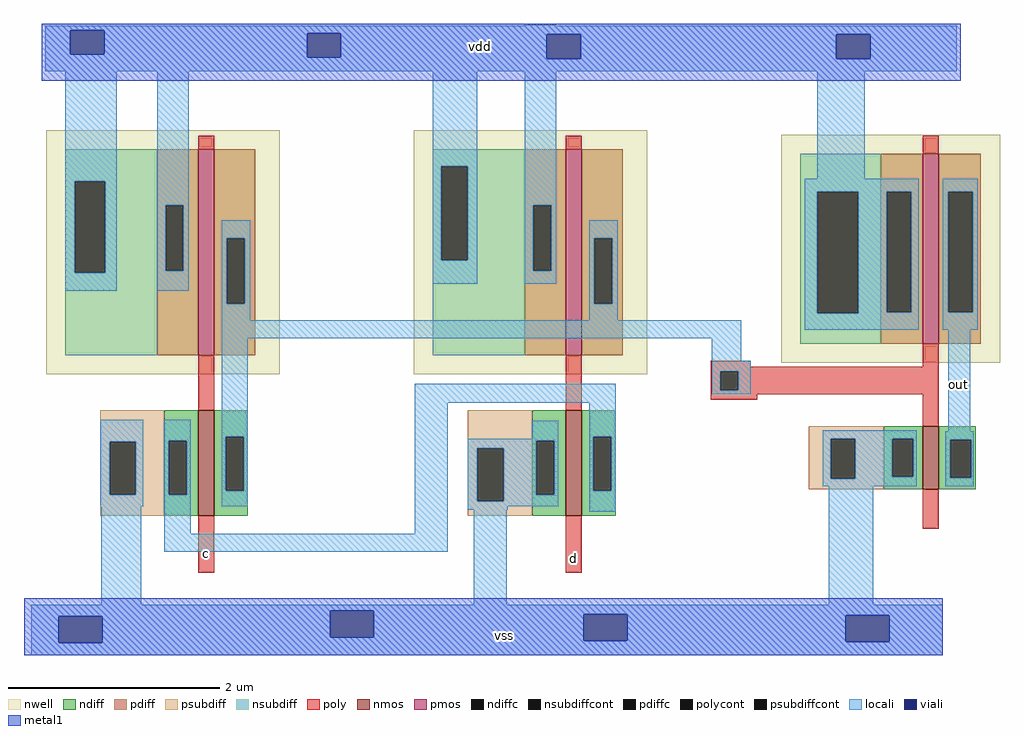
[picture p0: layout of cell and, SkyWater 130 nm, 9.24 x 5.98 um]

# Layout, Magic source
magic
tech sky130A
<< nwell >>
rect -168 121 53 352
rect 180 121 401 352
rect 528 132 735 348
<< nmos >>
rect -24 -13 -9 87
rect 324 -13 339 87
rect 662 12 677 72
<< pmos >>
rect -24 139 -9 334
rect 324 139 339 334
rect 662 150 677 330
<< ndiff >>
rect -56 58 -24 87
rect -56 7 -52 58
rect -35 7 -24 58
rect -56 -13 -24 7
rect -9 62 23 87
rect -9 11 2 62
rect 19 11 23 62
rect -9 -13 23 11
rect 292 58 324 87
rect 292 7 296 58
rect 313 7 324 58
rect 292 -13 324 7
rect 339 62 371 87
rect 339 11 350 62
rect 367 11 371 62
rect 625 60 662 72
rect 625 24 633 60
rect 653 24 662 60
rect 625 12 662 24
rect 677 59 712 72
rect 677 23 688 59
rect 708 23 712 59
rect 677 12 712 23
rect 339 -13 371 11
<< pdiff >>
rect -63 281 -24 334
rect -63 219 -55 281
rect -38 219 -24 281
rect -63 139 -24 219
rect -9 250 30 334
rect -9 188 3 250
rect 20 188 30 250
rect -9 139 30 188
rect 285 281 324 334
rect 285 219 293 281
rect 310 219 324 281
rect 285 139 324 219
rect 339 250 378 334
rect 339 188 351 250
rect 368 188 378 250
rect 339 139 378 188
rect 622 294 662 330
rect 622 180 628 294
rect 651 180 662 294
rect 622 150 662 180
rect 677 294 717 330
rect 677 180 686 294
rect 709 180 717 294
rect 677 150 717 180
<< ndiffc >>
rect -52 7 -35 58
rect 2 11 19 62
rect 296 7 313 58
rect 350 11 367 62
rect 633 24 653 60
rect 688 23 708 59
<< pdiffc >>
rect -55 219 -38 281
rect 3 188 20 250
rect 293 219 310 281
rect 351 188 368 250
rect 628 180 651 294
rect 686 180 709 294
<< psubdiff >>
rect -117 57 -56 87
rect -117 7 -108 57
rect -83 7 -56 57
rect -117 -13 -56 7
rect 231 51 292 87
rect 231 1 240 51
rect 265 1 292 51
rect 231 -13 292 1
rect 554 60 625 72
rect 554 22 575 60
rect 598 22 625 60
rect 554 12 625 22
<< nsubdiff >>
rect -150 304 -63 334
rect -150 217 -141 304
rect -112 217 -63 304
rect -150 139 -63 217
rect 198 318 285 334
rect 198 229 206 318
rect 231 229 285 318
rect 198 139 285 229
rect 546 294 622 330
rect 546 179 562 294
rect 601 179 622 294
rect 546 150 622 179
<< psubdiffcont >>
rect -108 7 -83 57
rect 240 1 265 51
rect 575 22 598 60
<< nsubdiffcont >>
rect -141 217 -112 304
rect 206 229 231 318
rect 562 179 601 294
<< poly >>
rect -24 334 -9 347
rect 324 334 339 347
rect 662 330 677 347
rect -24 87 -9 139
rect 324 87 339 139
rect 461 128 499 134
rect 662 128 677 150
rect 461 124 677 128
rect 461 106 470 124
rect 487 106 677 124
rect 461 102 677 106
rect 461 97 505 102
rect 662 72 677 102
rect -24 -67 -9 -13
rect 324 -67 339 -13
rect 662 -25 677 12
<< polycont >>
rect 470 106 487 124
<< locali >>
rect 285 451 315 452
rect -169 447 694 451
rect -169 424 -145 447
rect -113 444 694 447
rect -113 424 79 444
rect -169 421 79 424
rect 111 443 694 444
rect 111 421 306 443
rect -169 420 306 421
rect 338 420 580 443
rect 612 420 694 443
rect -169 408 694 420
rect -150 304 -101 408
rect -150 217 -141 304
rect -112 217 -101 304
rect -150 200 -101 217
rect -63 281 -33 408
rect -63 219 -55 281
rect -38 219 -33 281
rect 198 318 240 408
rect -63 200 -33 219
rect -2 250 25 267
rect -2 188 3 250
rect 20 188 25 250
rect 198 229 206 318
rect 231 229 240 318
rect 198 207 240 229
rect 285 281 315 408
rect 562 306 607 408
rect 285 219 293 281
rect 310 219 315 281
rect 550 294 658 306
rect 285 207 315 219
rect 346 250 373 267
rect -2 172 25 188
rect 346 188 351 250
rect 368 188 373 250
rect 346 172 373 188
rect 550 179 562 294
rect 601 180 628 294
rect 651 180 658 294
rect 601 179 658 180
rect -2 155 490 172
rect 550 163 658 179
rect 681 294 714 306
rect 681 180 686 294
rect 709 180 714 294
rect 681 163 714 180
rect -117 57 -76 78
rect -117 7 -108 57
rect -83 7 -76 57
rect -117 -4 -76 7
rect -56 58 -31 78
rect -56 7 -52 58
rect -35 7 -31 58
rect -116 -97 -78 -4
rect -56 -30 -31 7
rect -2 62 23 155
rect 462 134 490 155
rect 462 124 499 134
rect -2 11 2 62
rect 19 11 23 62
rect -2 -4 23 11
rect 181 94 371 112
rect 462 106 470 124
rect 487 106 499 124
rect 462 102 499 106
rect 181 -30 212 94
rect 292 60 317 77
rect 231 58 317 60
rect 231 51 296 58
rect 231 1 240 51
rect 265 7 296 51
rect 313 7 317 58
rect 265 1 317 7
rect 231 -4 317 1
rect 346 62 371 94
rect 346 11 350 62
rect 367 11 371 62
rect 567 60 656 68
rect 686 67 707 163
rect 567 22 575 60
rect 598 24 633 60
rect 653 24 656 60
rect 598 22 656 24
rect 567 15 656 22
rect 683 59 710 67
rect 683 23 688 59
rect 708 23 710 59
rect 683 15 710 23
rect 231 -7 269 -4
rect -56 -47 212 -30
rect 237 -97 268 -7
rect 346 -9 371 11
rect 573 -97 615 15
rect -182 -103 681 -97
rect -182 -108 101 -103
rect -182 -133 -156 -108
rect -115 -128 101 -108
rect 142 -106 681 -103
rect 142 -128 341 -106
rect -115 -131 341 -128
rect 382 -107 681 -106
rect 382 -131 589 -107
rect -115 -132 589 -131
rect 630 -132 681 -107
rect -115 -133 681 -132
rect -182 -145 681 -133
<< viali >>
rect -145 424 -113 447
rect 79 421 111 444
rect 306 420 338 443
rect 580 420 612 443
rect -156 -133 -115 -108
rect 101 -128 142 -103
rect 341 -131 382 -106
rect 589 -132 630 -107
<< metal1 >>
rect -172 447 698 453
rect -172 424 -145 447
rect -113 444 698 447
rect -113 424 79 444
rect -172 421 79 424
rect 111 443 698 444
rect 111 421 306 443
rect -172 420 306 421
rect 338 420 580 443
rect 612 420 698 443
rect -172 399 698 420
rect -189 -103 681 -91
rect -189 -108 101 -103
rect -189 -133 -156 -108
rect -115 -128 101 -108
rect 142 -106 681 -103
rect 142 -128 341 -106
rect -115 -131 341 -128
rect 382 -107 681 -106
rect 382 -131 589 -107
rect -115 -132 589 -131
rect 630 -132 681 -107
rect -115 -133 681 -132
rect -189 -145 681 -133
<< labels >>
flabel poly -16 -49 -16 -49 0 FreeSans 40 0 0 0 c
port 0 nsew
flabel poly 331 -53 331 -53 0 FreeSans 40 0 0 0 d
port 1 nsew
flabel locali 696 111 696 111 0 FreeSans 40 0 0 0 out
port 2 nsew
flabel metal1 243 431 243 431 0 FreeSans 40 0 0 0 vdd
port 3 nsew
flabel metal1 266 -126 266 -126 0 FreeSans 40 0 0 0 vss
port 5 nsew
<< end >>
